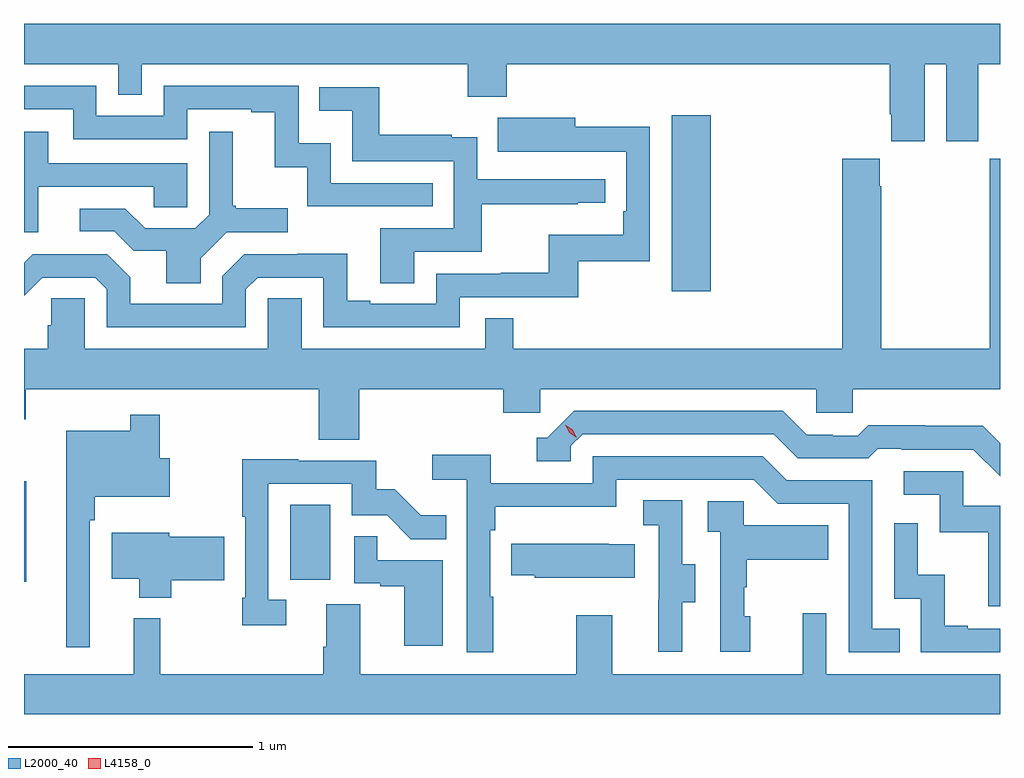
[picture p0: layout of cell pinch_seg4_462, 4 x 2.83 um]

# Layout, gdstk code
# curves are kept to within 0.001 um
import gdstk
lib = gdstk.Library(unit=1e-6, precision=1e-09)
def R(c, l, rs):  # rectangles x0, y0, x1, y1
    for r in rs: c.add(gdstk.rectangle(r[:2], r[2:], *l))
def P(c, l, *ps):  # polygons
    for p in ps: c.add(gdstk.Polygon(p, *l))
L2000_40 = (2000, 40)
L4158_0 = (4158, 0)

pinch_seg4_462 = lib.new_cell('pinch_seg4_462')
R(pinch_seg4_462, L2000_40, [(911.703,753.407,911.713,753.817), (912.794,753.414,912.958,753.721), (914.357,754.596,914.518,755.317)])
P(pinch_seg4_462, L2000_40, [(915.394,755.528),(915.482,755.528),(915.482,755.211),(915.613,755.211),(915.613,755.528),(915.703,755.528),(915.703,755.692),(911.703,755.692),(911.703,755.528),(912.09,755.528),(912.09,755.401),(912.186,755.401),(912.186,755.528),(913.522,755.528),(913.522,755.393),(913.682,755.393),(913.682,755.528),(915.251,755.528),(915.251,755.323),(915.257,755.323),(915.257,755.211),(915.394,755.211)],
  [(913.379,755.04),(912.96,755.04),(912.96,755.203),(912.828,755.203),(912.828,755.439),(912.276,755.439),(912.276,755.316),(912,755.316),(912,755.439),(911.703,755.439),(911.703,755.343),(911.904,755.343),(911.904,755.22),(912.372,755.22),(912.372,755.343),(912.635,755.343),(912.635,755.331),(912.731,755.331),(912.731,755.105),(912.864,755.105),(912.864,754.944),(913.379,754.944)],
  [(913.303,754.758),(913.58,754.758),(913.58,754.954),(913.973,754.954),(913.973,754.959),(914.086,754.959),(914.086,755.055),(913.56,755.055),(913.56,755.227),(913.457,755.227),(913.457,755.239),(913.159,755.239),(913.159,755.433),(912.913,755.433),(912.913,755.336),(913.048,755.336),(913.048,755.13),(913.464,755.13),(913.464,754.854),(913.163,754.854),(913.163,754.63),(913.303,754.63)],
  [(912.612,754.605),(912.66,754.653),(912.93,754.653),(912.93,754.449),(913.488,754.449),(913.488,754.572),(913.975,754.572),(913.975,754.719),(914.268,754.719),(914.268,755.27),(913.963,755.27),(913.963,755.308),(913.645,755.308),(913.645,755.168),(914.172,755.169),(914.172,754.924),(914.159,754.924),(914.159,754.828),(913.854,754.828),(913.854,754.673),(913.657,754.673),(913.657,754.668),(913.392,754.668),(913.392,754.545),(913.123,754.545),(913.123,754.558),(913.027,754.558),(913.027,754.751),(912.822,754.751),(912.822,754.749),(912.606,754.749),(912.516,754.659),(912.516,754.545),(912.139,754.545),(912.139,754.655),(912.045,754.749),(911.739,754.749),(911.703,754.713),(911.703,754.578),(911.778,754.653),(911.994,754.653),(912.042,754.605),(912.042,754.449),(912.612,754.449)],
  [(911.761,755.025),(912.235,755.025),(912.235,754.941),(912.372,754.941),(912.372,755.121),(911.803,755.121),(911.803,755.251),(911.703,755.251),(911.703,754.839),(911.761,754.839)],
  [(912.427,754.732),(912.534,754.839),(912.784,754.839),(912.784,754.936),(912.571,754.936),(912.571,754.948),(912.559,754.948),(912.559,755.251),(912.462,755.251),(912.462,754.911),(912.405,754.854),(912.199,754.854),(912.118,754.935),(911.931,754.935),(911.931,754.842),(912.072,754.842),(912.152,754.762),(912.287,754.762),(912.287,754.63),(912.427,754.63)],
  [(913.076,754.196),(913.667,754.196),(913.667,754.098),(913.818,754.098),(913.818,754.196),(914.949,754.196),(914.949,754.098),(915.099,754.098),(915.099,754.196),(915.703,754.196),(915.703,755.14),(915.661,755.14),(915.661,754.36),(915.216,754.36),(915.216,755.027),(915.211,755.027),(915.211,755.14),(915.056,755.14),(915.056,754.36),(913.709,754.36),(913.709,754.487),(913.593,754.487),(913.593,754.36),(912.841,754.36),(912.841,754.568),(912.702,754.568),(912.702,754.36),(911.952,754.36),(911.952,754.568),(911.815,754.568),(911.815,754.458),(911.801,754.458),(911.801,754.36),(911.703,754.36),(911.703,754.073),(911.71,754.073),(911.71,754.196),(912.911,754.196),(912.911,753.988),(913.076,753.988)],
  [(915.703,753.974),(915.632,754.045),(915.396,754.045),(915.396,754.048),(915.163,754.048),(915.121,754.005),(915.018,754.005),(915.018,754.008),(914.911,754.008),(914.812,754.107),(913.959,754.107),(913.848,753.996),(913.805,753.996),(913.805,753.9),(913.944,753.9),(913.944,753.963),(913.992,754.011),(914.775,754.011),(914.874,753.912),(915.163,753.912),(915.202,753.951),(915.301,753.951),(915.301,753.948),(915.594,753.948),(915.703,753.839)],
  [(911.973,753.659),(911.993,753.659),(911.993,753.755),(912.301,753.755),(912.301,753.913),(912.259,753.913),(912.259,754.09),(912.138,754.09),(912.138,754.024),(911.876,754.024),(911.876,753.138),(911.973,753.138)],
  [(913.627,753.344),(913.614,753.344),(913.614,753.617),(913.634,753.617),(913.634,753.713),(914.13,753.713),(914.13,753.825),(914.694,753.825),(914.793,753.726),(915.084,753.726),(915.084,753.117),(915.293,753.117),(915.293,753.213),(915.18,753.213),(915.18,753.822),(914.83,753.822),(914.731,753.921),(914.034,753.921),(914.034,753.81),(913.616,753.81),(913.616,753.926),(913.377,753.926),(913.377,753.824),(913.518,753.824),(913.518,753.117),(913.627,753.117)],
  [(912.778,753.333),(912.705,753.333),(912.705,753.807),(913.047,753.807),(913.047,753.678),(913.191,753.678),(913.289,753.58),(913.433,753.58),(913.433,753.679),(913.329,753.679),(913.222,753.786),(913.146,753.786),(913.146,753.903),(912.827,753.903),(912.827,753.908),(912.597,753.908),(912.597,753.673),(912.609,753.673),(912.609,753.34),(912.597,753.34),(912.597,753.228),(912.778,753.228)],
  [(915.703,753.717),(915.552,753.717),(915.552,753.858),(915.309,753.858),(915.309,753.762),(915.456,753.762),(915.456,753.609),(915.655,753.609),(915.655,753.306),(915.703,753.306)],
  [(914.401,753.322),(914.455,753.322),(914.455,753.477),(914.4,753.477),(914.4,753.74),(914.241,753.74),(914.241,753.637),(914.304,753.637),(914.304,753.333),(914.303,753.333),(914.303,753.12),(914.401,753.12)],
  [(914.68,753.264),(914.655,753.264),(914.655,753.383),(914.665,753.383),(914.665,753.497),(914.999,753.497),(914.999,753.637),(914.652,753.637),(914.652,753.735),(914.505,753.735),(914.505,753.611),(914.556,753.611),(914.556,753.12),(914.68,753.12)],
  [(915.703,753.213),(915.571,753.213),(915.571,753.226),(915.476,753.226),(915.476,753.434),(915.366,753.434),(915.366,753.646),(915.27,753.646),(915.27,753.336),(915.378,753.336),(915.378,753.117),(915.703,753.117)],
  [(912.306,753.412),(912.523,753.412),(912.523,753.59),(912.298,753.59),(912.298,753.607),(912.062,753.607),(912.062,753.419),(912.176,753.419),(912.176,753.341),(912.306,753.341)],
  [(913.42,753.495),(913.151,753.495),(913.151,753.593),(913.056,753.593),(913.056,753.399),(913.163,753.399),(913.163,753.387),(913.262,753.387),(913.262,753.144),(913.42,753.144)],
  [(914.207,753.559),(914.099,753.559),(914.099,753.562),(913.699,753.562),(913.699,753.433),(913.797,753.433),(913.797,753.422),(914.207,753.422)],
  [(915.703,753.028),(914.991,753.028),(914.991,753.277),(914.894,753.277),(914.894,753.028),(914.113,753.028),(914.113,753.268),(913.966,753.268),(913.966,753.028),(913.081,753.028),(913.081,753.314),(912.941,753.314),(912.941,753.14),(912.929,753.14),(912.929,753.028),(912.262,753.028),(912.262,753.256),(912.152,753.256),(912.152,753.028),(911.703,753.028),(911.703,752.864),(915.703,752.864)])
P(pinch_seg4_462, L4158_0, [(913.968,753.997),(913.937,754.016),(913.921,754.049),(913.921,754.049),(913.921,754.049),(913.952,754.03),(913.968,753.997),(913.968,753.997)])

lib.write_gds('pinch_seg4_462.gds')
